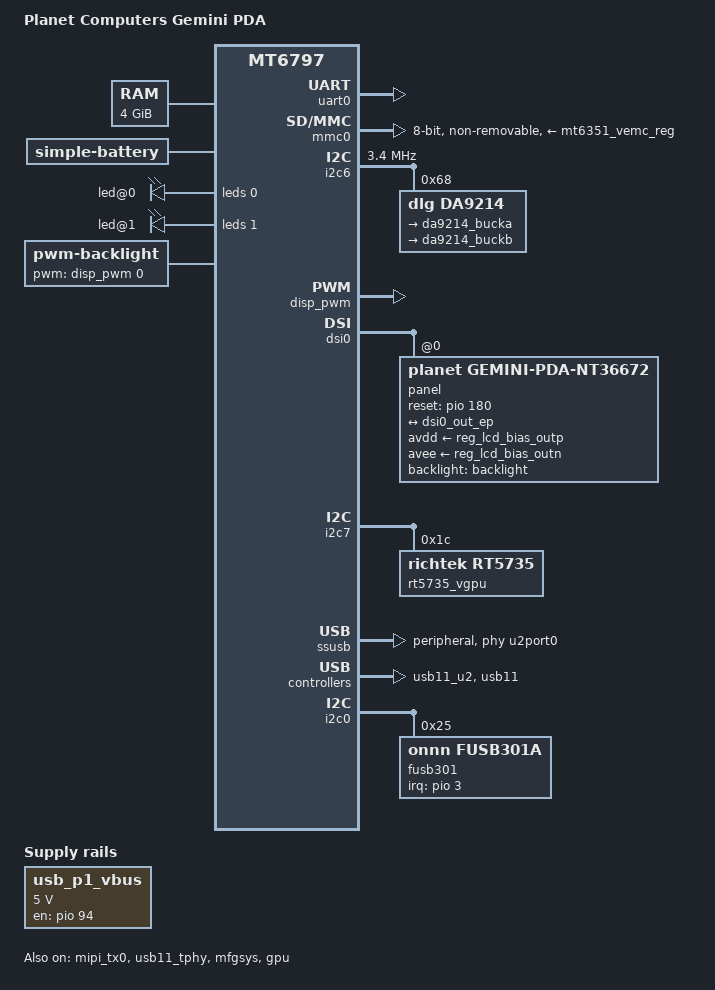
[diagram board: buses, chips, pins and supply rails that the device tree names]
// SPDX-License-Identifier: GPL-2.0-only
/*
 * Copyright (c) 2026 Julien Etienne
 */

/dts-v1/;

#include "mt6797.dtsi"
#include <dt-bindings/gpio/gpio.h>
#include <dt-bindings/input/input.h>
#include <dt-bindings/interrupt-controller/irq.h>

/ {
	model = "Planet Computers Gemini PDA";
	chassis-type = "handset";
	compatible = "planet,gemini-pda", "mediatek,mt6797";

	aliases {
		serial0 = &uart0;
	};

	chosen {
		stdout-path = "serial0:921600n8";
	};

	/*
	 * GPU operating points for this board's MT6797 speed bin. The
	 * frequency/voltage pairs are the vendor 3.18 mt_gpufreq non-M-bin
	 * grid (238-700 MHz); M-bin parts use a disjoint grid topping out at
	 * 600 MHz, so this table is not valid for every MT6797 and lives in
	 * the board DTS rather than the shared SoC dtsi.
	 */
	gpu_opp_table: opp-table-gpu {
		compatible = "operating-points-v2";
		opp-shared;

		opp-238000000 {
			opp-hz = /bits/ 64 <238000000>;
			opp-microvolt = <862500>;
		};
		opp-365000000 {
			opp-hz = /bits/ 64 <365000000>;
			opp-microvolt = <912500>;
		};
		opp-442500000 {
			opp-hz = /bits/ 64 <442500000>;
			opp-microvolt = <975000>;
		};
		opp-520000000 {
			opp-hz = /bits/ 64 <520000000>;
			opp-microvolt = <1006250>;
		};
		opp-610000000 {
			opp-hz = /bits/ 64 <610000000>;
			opp-microvolt = <1081250>;
		};
		opp-700000000 {
			opp-hz = /bits/ 64 <700000000>;
			opp-microvolt = <1131250>;
		};
	};

	memory@40000000 {
		device_type = "memory";
		reg = <0 0x40000000 1 0>;
	};

	/*
	 * VBUS switch for the right USB-C port (USB11 MUSB host). The vendor
	 * Type-C flow drives USB1 DRVVBUS (GPIO94) high to source 5 V when a
	 * device attaches in source role (drivers/misc/mediatek/usb_c/.../
	 * usb_typec.c; aeon_gpio.dtsi labels GPIO94 "usb1_drvvbus"). Active
	 * high, left off at boot.
	 */
	usb_p1_vbus: regulator-usb-p1-vbus {
		compatible = "regulator-fixed";
		regulator-name = "usb-p1-vbus";
		regulator-min-microvolt = <5000000>;
		regulator-max-microvolt = <5000000>;
		gpio = <&pio 94 GPIO_ACTIVE_HIGH>;
		enable-active-high;
	};

	/*
	 * Single-cell Li-Ion pack. The design capacity is the vendor
	 * fuel-gauge Q_MAX at 25 C (mt_battery_meter.h: Q_MAX_POS_25 =
	 * 4268 mAh). The open-circuit-voltage table is taken from the vendor
	 * 25 C profile battery_profile_t2[] in mt_battery_meter_table.h, which
	 * lists depth-of-discharge against resting voltage in mV; the capacity
	 * column here is 100 - depth-of-discharge.
	 */
	battery: battery {
		compatible = "simple-battery";
		charge-full-design-microamp-hours = <4268000>;
		voltage-min-design-microvolt = <3400000>;
		voltage-max-design-microvolt = <4416000>;
		ocv-capacity-celsius = <25>;
		ocv-capacity-table-0 =
			<4357000 100>, <4301000 95>, <4248000 91>, <4196000 86>,
			<4132000 80>, <4082000 75>, <4023000 70>, <3970000 65>,
			<3941000 60>, <3888000 56>, <3849000 50>, <3826000 45>,
			<3807000 40>, <3789000 35>, <3776000 30>, <3760000 25>,
			<3739000 19>, <3715000 15>, <3688000 10>, <3681000 5>,
			<3483000 1>, <3400000 0>;
	};

	reserved-memory {
		#address-cells = <2>;
		#size-cells = <2>;
		ranges;

		/*
		 * Fixed firmware reservations carried over from the vendor
		 * mt6797.dtsi. By base address the owners are: 0x40000000 the
		 * preloader-preserved first DRAM page; 0x44400000 ram_console;
		 * 0x44410000 pstore/ramoops; 0x444f0000 minirdump; 0x44600000
		 * ARM Trusted Firmware; 0x44610000 ATF ramdump; 0x44640000
		 * i-cache dump; 0x44800000 preloader; 0x46000000 LK. Linux must
		 * not map any of them (no-map); the retained MT6797 LK adds its
		 * further runtime mblock reservations after this DT is loaded.
		 */
		memory@40000000 {
			reg = <0 0x40000000 0 0x1000>;
			no-map;
		};

		memory@44400000 {
			reg = <0 0x44400000 0 0x10000>;
			no-map;
		};

		ramoops@44410000 {
			compatible = "ramoops";
			reg = <0 0x44410000 0 0xe0000>;
			record-size = <0x1000>;
			console-size = <0x10000>;
			ftrace-size = <0x1000>;
			pmsg-size = <0x20000>;
			mem-type = <0>;
			no-map;
		};

		memory@444f0000 {
			reg = <0 0x444f0000 0 0x10000>;
			no-map;
		};

		memory@44600000 {
			reg = <0 0x44600000 0 0x10000>;
			no-map;
		};

		memory@44610000 {
			reg = <0 0x44610000 0 0x30000>;
			no-map;
		};

		memory@44640000 {
			reg = <0 0x44640000 0 0x30000>;
			no-map;
		};

		memory@44800000 {
			reg = <0 0x44800000 0 0x100000>;
			no-map;
		};

		memory@46000000 {
			reg = <0 0x46000000 0 0x400000>;
			no-map;
		};
	};
};

&mt6351regulator {
	mt6351_vemc_reg: ldo-vemc {
		regulator-name = "vemc_3v3";
		regulator-min-microvolt = <3000000>;
		regulator-max-microvolt = <3300000>;
		regulator-boot-on;
	};

	mt6351_vio18_reg: ldo-vio18 {
		regulator-name = "vio18";
		regulator-min-microvolt = <1800000>;
		regulator-max-microvolt = <1800000>;
		regulator-always-on;
	};

	mt6351_vmch_reg: ldo-vmch {
		regulator-name = "vmch_3v3";
		regulator-min-microvolt = <3000000>;
		regulator-max-microvolt = <3300000>;
	};

	mt6351_vmc_reg: ldo-vmc {
		regulator-name = "vmc";
		regulator-min-microvolt = <1800000>;
		regulator-max-microvolt = <3300000>;
	};
};

&pmic {
	/*
	 * MT6351 ISINK current-sink LEDs. Vendor aeon6797_6m_n.dts led@0/led@1
	 * drive the red/green indicators from ISINK0/ISINK1 (led_mode = 3).
	 */
	leds {
		compatible = "mediatek,mt6351-led";
		#address-cells = <1>;
		#size-cells = <0>;

		led@0 {
			reg = <0>;
			color = <LED_COLOR_ID_RED>;
			function = LED_FUNCTION_INDICATOR;
		};

		led@1 {
			reg = <1>;
			color = <LED_COLOR_ID_GREEN>;
			function = LED_FUNCTION_INDICATOR;
		};
	};
};

&pio {
	uart0_gemini_pins: uart0-gemini-pins {
		pins-rx-tx {
			pinmux = <MT6797_GPIO97__FUNC_URXD0>,
				 <MT6797_GPIO98__FUNC_UTXD0>;
		};
	};

	mmc0_pins_default: mmc0-default-pins {
		pins-cmd-dat {
	/*
	 * Pull and drive values follow the vendor aeon6797_6m_n.dts mmc1 groups
	 * (cmd/dat pull-up, clk pull-down; drive-strength is written as a raw
	 * MT6797 register code as on all MT6797 pads). Card detect is GPIO67
	 * (vendor EINT6) with an internal pull-up.
	 */
	mmc1_pins_default: mmc1-default-pins {
		pins-cmd-dat {
			pinmux = <MT6797_GPIO130__FUNC_MSDC1_DAT0>,
				 <MT6797_GPIO131__FUNC_MSDC1_DAT1>,
				 <MT6797_GPIO132__FUNC_MSDC1_DAT2>,
				 <MT6797_GPIO133__FUNC_MSDC1_DAT3>,
				 <MT6797_GPIO129__FUNC_MSDC1_CMD>;
			drive-strength = <4>;
			bias-pull-up = <MTK_PUPD_SET_R1R0_01>;
		};

		pins-clk {
			pinmux = <MT6797_GPIO134__FUNC_MSDC1_CLK>;
			drive-strength = <4>;
			bias-pull-down = <MTK_PUPD_SET_R1R0_10>;
		};
	};

	mmc1_cd_pins: mmc1-cd-pins {
		pins-cd {
			pinmux = <MT6797_GPIO67__FUNC_GPIO67>;
			input-enable;
			bias-pull-up;
		};
	};

			pinmux = <MT6797_GPIO114__FUNC_MSDC0_DAT0>,
				 <MT6797_GPIO115__FUNC_MSDC0_DAT1>,
				 <MT6797_GPIO116__FUNC_MSDC0_DAT2>,
				 <MT6797_GPIO117__FUNC_MSDC0_DAT3>,
				 <MT6797_GPIO118__FUNC_MSDC0_DAT4>,
				 <MT6797_GPIO119__FUNC_MSDC0_DAT5>,
				 <MT6797_GPIO120__FUNC_MSDC0_DAT6>,
				 <MT6797_GPIO121__FUNC_MSDC0_DAT7>,
				 <MT6797_GPIO122__FUNC_MSDC0_CMD>;
		};

		pins-clk {
			pinmux = <MT6797_GPIO123__FUNC_MSDC0_CLK>;
		};

		pins-ds {
			pinmux = <MT6797_GPIO124__FUNC_MSDC0_DSL>;
		};

		pins-rst {
			pinmux = <MT6797_GPIO125__FUNC_MSDC0_RSTB>;
		};
	};
};

&uart0 {
	pinctrl-names = "default";
&mmc1 {
	pinctrl-names = "default", "state_uhs";
	pinctrl-0 = <&mmc1_pins_default>, <&mmc1_cd_pins>;
	pinctrl-1 = <&mmc1_pins_default>, <&mmc1_cd_pins>;
	bus-width = <4>;
	max-frequency = <200000000>;
	cap-sd-highspeed;
	sd-uhs-sdr12;
	sd-uhs-sdr25;
	sd-uhs-sdr50;
	sd-uhs-sdr104;
	cd-gpios = <&pio 67 GPIO_ACTIVE_HIGH>;
	vmmc-supply = <&mt6351_vmch_reg>;
	vqmmc-supply = <&mt6351_vmc_reg>;
	no-mmc;
	no-sdio;
	status = "okay";
};

	pinctrl-0 = <&uart0_gemini_pins>;
	status = "okay";
};

&mmc0 {
	pinctrl-names = "default", "state_uhs";
	pinctrl-0 = <&mmc0_pins_default>;
	pinctrl-1 = <&mmc0_pins_default>;
	bus-width = <8>;
	max-frequency = <25000000>;
	vmmc-supply = <&mt6351_vemc_reg>;
	vqmmc-supply = <&mt6351_vio18_reg>;
	non-removable;
	no-sd;
	no-sdio;
	status = "okay";
};
&i2c6 {
	clock-frequency = <3400000>;
	mediatek,use-push-pull;
	pinctrl-names = "default";
	pinctrl-0 = <&i2c6_pins_a>;
	status = "okay";

	da9214: regulator@68 {
		compatible = "dlg,da9214";
		reg = <0x68>;

		regulators {
			da9214_bucka: BUCKA {
				regulator-name = "vproc-little";
				regulator-always-on;
				regulator-boot-on;
			};

			da9214_buckb: BUCKB {
				regulator-name = "vproc-big";
				regulator-always-on;
				regulator-boot-on;
			};
		};
	};
};

	/*
	 * TI BQ25896 single-cell Li-Ion charger. The vendor DT mislabels it
	 * "bq24261@6b", but the board enables MTK_BQ25896_SUPPORT and the part
	 * answers at 0x6b. Its INT line is not routed (the vendor firmware
	 * tracks the MT6351 charger-detect comparator instead), so the driver
	 * polls the status registers.
	 *
	 * Charge voltage (4.416 V) and current (2.048 A) match the vendor
	 * settings. Termination (256 mA), precharge (128 mA), minimum system
	 * voltage (3.5 V) and boost voltage (5.126 V) are the BQ25896 power-on
	 * reset defaults (REG05 = 0x13, REG03 = 0x1a, REG0A = 0x93); the vendor
	 * does not reprogram them. The 1.3 A boost current limit matches the
	 * value the vendor firmware writes.
	 */
	charger: charger@6b {
		compatible = "ti,bq25896", "ti,bq25890";
		reg = <0x6b>;

		monitored-battery = <&battery>;

		ti,battery-regulation-voltage = <4416000>;
		ti,charge-current = <2048000>;
		ti,termination-current = <256000>;
		ti,precharge-current = <128000>;
		ti,minimum-sys-voltage = <3500000>;
		ti,boost-voltage = <5126000>;
		ti,boost-max-current = <1300000>;
	};

	keys {
		compatible = "mediatek,mt6351-keys";

		power {
			linux,keycodes = <KEY_POWER>;
			wakeup-source;
		};

		home {
			linux,keycodes = <KEY_HOME>;
		};
	};

&pio {
	lcd_bias_pins: lcd-bias-pins {
		pins-enp-enn {
			pinmux = <MT6797_GPIO60__FUNC_GPIO60>,
				 <MT6797_GPIO251__FUNC_GPIO251>;
		};
	};
};


/*
 * Panel backlight driven by the MT6797 display PWM. The vendor backlight
 * node (aeon6797_6m_n.dts led6, "mediatek,lcd-backlight") selects
 * led_mode = <5>, i.e. the display PWM source.
 */
&disp_pwm {
	status = "okay";
};

&{/} {
	backlight: backlight {
		compatible = "pwm-backlight";
		pwms = <&disp_pwm 0 500000>;
		brightness-levels = <0 16 32 48 64 80 96 112 128
				     144 160 176 192 208 224 240 255>;
		default-brightness-level = <10>;
	};
};

&pio {
	/*
	 * LCD bias for the internal panel. The vendor driver treats it as an
	 * "lp3101" at I2C1 0x3e, which is register-compatible with the TI
	 * TPS65132 dual output regulator. ENP (GPIO60) gates the positive OUTP
	 * rail and ENN (GPIO251) the negative OUTN rail, both active-high per
	 * aeon_gpio.dtsi:143-170. The vendor LCM writes VPOS/VNEG = 0x0f, i.e.
	 * +/-5.5 V (lp3101.c:105-125).
	 */
	lcd_bias: regulator@3e {
		compatible = "ti,tps65132";
		reg = <0x3e>;
		pinctrl-names = "default";
		pinctrl-0 = <&lcd_bias_pins>;

		reg_lcd_bias_outp: outp {
			regulator-name = "lcd-bias-outp";
			regulator-min-microvolt = <5500000>;
			regulator-max-microvolt = <5500000>;
			enable-gpios = <&pio 60 GPIO_ACTIVE_HIGH>;
		};

		reg_lcd_bias_outn: outn {
			regulator-name = "lcd-bias-outn";
			regulator-min-microvolt = <5500000>;
			regulator-max-microvolt = <5500000>;
			enable-gpios = <&pio 251 GPIO_ACTIVE_HIGH>;
		};
	};
};

&pio {
	panel_pins: panel-pins {
		pins-reset {
			pinmux = <MT6797_GPIO180__FUNC_GPIO180>;
		};
	};
};

&mipi_tx0 {
	status = "okay";
};

&dsi0 {
	status = "okay";
	#address-cells = <1>;
	#size-cells = <0>;

	/*
	 * NT36672-class FHD+ DSI video panel (vendor LCM
	 * aeon_nt36672_fhd_dsi_vdo_x600_xinli): 4-lane burst mode, reset on
	 * GPIO180 (LCM_RST). The panel's AVDD/AVEE analog rails are supplied by
	 * the TPS65132 bias OUTP/OUTN outputs; the vendor sequence enables both
	 * before releasing reset. VDDI is not switched by the vendor LCM (its
	 * PMIC VGP1 calls are commented out), so no digital supply is described
	 * here.
	 */
	panel@0 {
		compatible = "planet,gemini-pda-nt36672";
		reg = <0>;
		pinctrl-names = "default";
		pinctrl-0 = <&panel_pins>;
		reset-gpios = <&pio 180 GPIO_ACTIVE_HIGH>;
		avdd-supply = <&reg_lcd_bias_outp>;
		avee-supply = <&reg_lcd_bias_outn>;
		backlight = <&backlight>;

		port {
			panel_in: endpoint {
				remote-endpoint = <&dsi0_out_ep>;
			};
		};
	};
};

&dsi0_out {
	dsi0_out_ep: endpoint {
		remote-endpoint = <&panel_in>;
	};
};

&i2c7 {
	pinctrl-names = "default";
	pinctrl-0 = <&i2c7_pins_a>;
	status = "okay";

	/* External GPU buck: Richtek RT5735 at I2C address 0x1c. */
	rt5735_vgpu: regulator@1c {
		compatible = "richtek,rt5735";
		reg = <0x1c>;
		regulator-name = "vgpu";
		regulator-min-microvolt = <862500>;
		regulator-max-microvolt = <1131250>;
		regulator-ramp-delay = <32000>;
	};
};

/*
 * The left USB-C connector is wired to the MTU3 device controller. Keep the
 * controller disabled until device-mode operation has been validated on
 * this board.
 */
&u2port0 {
	clocks = <&clk26m>;
};

&ssusb {
	assigned-clocks = <&topckgen CLK_TOP_MUX_SSUSB_TOP_SYS>;
	assigned-clock-parents = <&topckgen CLK_TOP_UNIVPLL3_D2>;
	phys = <&u2port0 PHY_TYPE_USB2>;
	dr_mode = "peripheral";
	maximum-speed = "high-speed";
};

/*
 * The right USB-C connector is wired to the USB11 MUSB controller, which the
 * vendor runs as a full-speed host only (CONFIG_MTK_USBFSH, "Host-only MUSB
 * hardware"). Enable the controller and its USB2 T-PHY; the SoC description
 * already fixes dr_mode = "host". Select the proven 26 MHz PHY reference as
 * on the left-port u2port0.
 */
&usb11_tphy {
	status = "okay";
};

&usb11_u2 {
	clocks = <&clk26m>;
	status = "okay";
};

&usb11 {
	status = "okay";
};

&i2c0 {
	pinctrl-names = "default";
	pinctrl-0 = <&i2c0_pins_a>;
	status = "okay";

	/*
	 * ON Semi FUSB301A autonomous Type-C controller for the right USB-C
	 * port. Its active-low interrupt is wired to GPIO64/EINT3; the FUSB301A
	 * on I2C1 has no usable interrupt line and is therefore not described.
	 */
	fusb301: typec@25 {
		compatible = "onnn,fusb301a", "onnn,fusb301";
		reg = <0x25>;
		interrupt-parent = <&pio>;
		interrupts = <3 IRQ_TYPE_LEVEL_LOW>;

		connector {
			compatible = "usb-c-connector";
			label = "USB-C";
			power-role = "source";
			data-role = "host";
			typec-power-opmode = "default";
			pd-disable;
			vbus-supply = <&usb_p1_vbus>;
		};
	};

	/* FAN49101 is populated, but keep the regulator and consumer disabled. */
	fan49101: regulator@70 {
		compatible = "onnn,fan49101";
		reg = <0x70>;
		status = "disabled";

		regulators {
			fan49101_vout: vout {
				regulator-name = "fan49101-vout";
				regulator-min-microvolt = <603000>;
				regulator-max-microvolt = <1411038>;
			};
		};
	};
};

&mfg_async {
	/*
	 * Keep the GPU (MFG) rail up while the MFG_ASYNC/MFG power domains
	 * are powered. Without it the MFG power-on ack times out, the
	 * power-controller probe fails and its cleanup powers off the
	 * already-on MM domain, blanking the LK-enabled display.
	 */
	domain-supply = <&rt5735_vgpu>;
};

&mfgsys {
	status = "okay";
};

&gpu {
	mali-supply = <&rt5735_vgpu>;
	operating-points-v2 = <&gpu_opp_table>;
	status = "okay";
};
